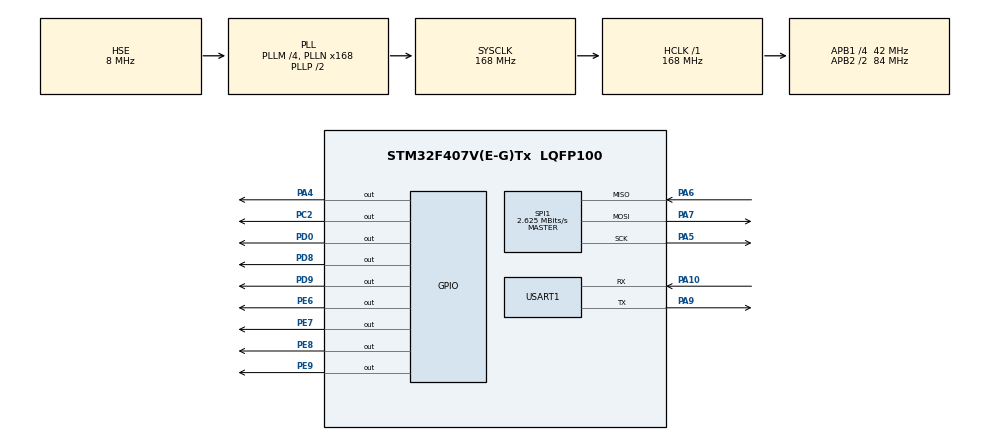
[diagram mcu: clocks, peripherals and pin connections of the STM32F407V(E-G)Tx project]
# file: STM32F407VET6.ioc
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Mcu.Family=STM32F4
Mcu.Name=STM32F407V(E-G)Tx
Mcu.Package=LQFP100
NVIC.PriorityGroup=NVIC_PRIORITYGROUP_4
PA10.Mode=Asynchronous
PA10.Signal=USART1_RX
PA13.Mode=Serial_Wire
PA13.Signal=SYS_JTMS-SWDIO
PA14.Mode=Serial_Wire
PA14.Signal=SYS_JTCK-SWCLK
PA4.GPIO_Speed=GPIO_SPEED_FREQ_VERY_HIGH
PA4.Signal=GPIO_Output
PA5.Mode=Full_Duplex_Master
PA5.Signal=SPI1_SCK
PA6.Mode=Full_Duplex_Master
PA6.Signal=SPI1_MISO
PA7.Mode=Full_Duplex_Master
PA7.Signal=SPI1_MOSI
PA9.Mode=Asynchronous
PA9.Signal=USART1_TX
PC2.GPIO_Speed=GPIO_SPEED_FREQ_MEDIUM
PC2.PinState=GPIO_PIN_RESET
PC2.Signal=GPIO_Output
PD0.GPIO_ModeDefaultOutputPP=GPIO_MODE_OUTPUT_PP
PD0.GPIO_Speed=GPIO_SPEED_FREQ_MEDIUM
PD0.PinState=GPIO_PIN_RESET
PD0.Signal=GPIO_Output
PD8.GPIO_ModeDefaultOutputPP=GPIO_MODE_OUTPUT_PP
PD8.GPIO_PuPd=GPIO_NOPULL
PD8.GPIO_Speed=GPIO_SPEED_FREQ_LOW
PD8.PinState=GPIO_PIN_RESET
PD8.Signal=GPIO_Output
PD9.GPIO_ModeDefaultOutputPP=GPIO_MODE_OUTPUT_PP
PD9.GPIO_PuPd=GPIO_NOPULL
PD9.GPIO_Speed=GPIO_SPEED_FREQ_LOW
PD9.PinState=GPIO_PIN_RESET
PD9.Signal=GPIO_Output
PE6.GPIO_Speed=GPIO_SPEED_FREQ_MEDIUM
PE6.Signal=GPIO_Output
PE7.GPIO_ModeDefaultOutputPP=GPIO_MODE_OUTPUT_PP
PE7.GPIO_Speed=GPIO_SPEED_FREQ_MEDIUM
PE7.PinState=GPIO_PIN_SET
PE7.Signal=GPIO_Output
PE8.GPIO_ModeDefaultOutputPP=GPIO_MODE_OUTPUT_PP
PE8.GPIO_PuPd=GPIO_NOPULL
PE8.GPIO_Speed=GPIO_SPEED_FREQ_LOW
PE8.PinState=GPIO_PIN_RESET
PE8.Signal=GPIO_Output
PE9.GPIO_ModeDefaultOutputPP=GPIO_MODE_OUTPUT_PP
PE9.GPIO_PuPd=GPIO_NOPULL
PE9.GPIO_Speed=GPIO_SPEED_FREQ_LOW
PE9.PinState=GPIO_PIN_RESET
PE9.Signal=GPIO_Output
PH0-OSC_IN.Mode=HSE-External-Oscillator
PH0-OSC_IN.Signal=RCC_OSC_IN
PH1-OSC_OUT.Mode=HSE-External-Oscillator
PH1-OSC_OUT.Signal=RCC_OSC_OUT
ProjectManager.HeapSize=0x200
ProjectManager.StackSize=0x400
ProjectManager.TargetToolchain=MDK-ARM V5.32
RCC.48MHZClocksFreq_Value=84000000
RCC.AHBFreq_Value=168000000
RCC.APB1CLKDivider=RCC_HCLK_DIV4
RCC.APB1Freq_Value=42000000
RCC.APB1TimFreq_Value=84000000
RCC.APB2CLKDivider=RCC_HCLK_DIV2
RCC.APB2Freq_Value=84000000
RCC.APB2TimFreq_Value=168000000
RCC.CortexFreq_Value=168000000
RCC.HCLKFreq_Value=168000000
RCC.HSE_VALUE=8000000
RCC.HSI_VALUE=16000000
RCC.LSE_VALUE=32768
RCC.PLLM=4
RCC.PLLN=168
RCC.PLLSourceVirtual=RCC_PLLSOURCE_HSE
RCC.SYSCLKFreq_VALUE=168000000
RCC.SYSCLKSource=RCC_SYSCLKSOURCE_PLLCLK
RCC.VCOOutputFreq_Value=336000000
SPI1.BaudRatePrescaler=SPI_BAUDRATEPRESCALER_32
SPI1.CalculateBaudRate=2.625 MBits/s
SPI1.DataSize=SPI_DATASIZE_16BIT
SPI1.Direction=SPI_DIRECTION_2LINES
SPI1.Mode=SPI_MODE_MASTER
SPI1.VirtualType=VM_MASTER
USART1.VirtualMode=VM_ASYNC
board=custom

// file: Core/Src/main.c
/* USER CODE BEGIN Header */
/**
  ******************************************************************************
  * @file           : main.c
  * @brief          : Main program body
  ******************************************************************************
  * @attention
  *
  * Copyright (c) 2026 STMicroelectronics.
  * All rights reserved.
  *
  * This software is licensed under terms that can be found in the LICENSE file
  * in the root directory of this software component.
  * If no LICENSE file comes with this software, it is provided AS-IS.
  *
  ******************************************************************************
  */
/* USER CODE END Header */
#include "main.h"
#include "spi.h"
#include "usart.h"
#include "gpio.h"

/* USER CODE BEGIN Includes */
#include "headfile.h"
#include "lcd.h"
/* USER CODE END Includes */

/* USER CODE BEGIN PTD */
typedef enum
{
  MEASURE_MODE_WAVE = 0,
  MEASURE_MODE_FREQ = 1
} measure_mode_t;

typedef enum
{
  WAVE_CHANNEL_1_NORMAL = 0,
  WAVE_CHANNEL_2_ATTEN = 1
} wave_channel_t;

/* USER CODE END PTD */

/* USER CODE BEGIN PD */
#define ADC_CAPTURE_WAIT_MS 20U
#define ADC_CAPTURE_SAMPLE_COUNT 1024U
#define ADC_SAMPLE_RATE_HZ FPGA_ADC_SAMPLE_RATE_HZ
#define ADC_FULL_SCALE_VPP 4.0f
#define ADC_MAX_CODE 16383U
#define WAVE_CHANNEL_1_GAIN 1.0f
#define WAVE_CHANNEL_2_GAIN 3.2268f     //3.1623f
#define WAVE_CHANNEL_SWITCH_TO_NORMAL_VPP 3.2f
#define WAVE_CHANNEL_BACK_TO_NORMAL_FRAMES 5U
#define WAVE_CHANNEL_CH2_HOLD_MS 1000U
#define LCD_AUTO_REFRESH_INTERVAL_MS 200U
#define LCD_VALUE_X 150U
#define LCD_STATUS_Y 56U
#define LCD_AMP_Y 84U
#define LCD_RISE_Y 112U
#define LCD_FREQ_Y 140U
#define LCD_DUTY_Y 168U
#define LCD_ZERO_Y 196U
#define LCD_NOTE_Y 220U

/* USER CODE END PD */

/* USER CODE BEGIN PM */
static uint16_t adc_raw_buff[ADC_CAPTURE_SAMPLE_COUNT];
static uint16_t adc_work_buff[ADC_CAPTURE_SAMPLE_COUNT];
static pulse_measure_config_t g_pulse_cfg;
static pulse_measure_result_t g_pulse_result;
static pulse_measure_result_t g_last_valid_result;
static bool g_have_last_valid_result = false;
static uint16_t g_freq_status = 0U;
static uint32_t g_freq_period_samples = 0U;
static uint32_t g_freq_high_samples = 0U;
static uint32_t g_freq_low_samples = 0U;
static measure_mode_t g_measure_mode = MEASURE_MODE_WAVE;
static wave_channel_t g_wave_channel = WAVE_CHANNEL_1_NORMAL;
static uint8_t g_channel2_low_amp_frames = 0U;
static uint32_t g_wave_channel_switch_tick = 0U;

static uint32_t scale_positive_float(float value, float scale)
{
  if(value <= 0.0f)
  {
    return 0U;
  }

  return (uint32_t)((value * scale) + 0.5f);
}

static void lcd_clear_value_line(uint16_t y)
{
  LCD_Fill(LCD_VALUE_X, y, 315U, y + 24U, WHITE);
}

static void lcd_show_placeholder(uint16_t y)
{
  lcd_clear_value_line(y);
  LCD_ShowString(LCD_VALUE_X, y, (const uint8_t *)"--", RED, WHITE, 24U, 0U);
}

static void lcd_show_status_text(const char *text, uint16_t color)
{
  lcd_clear_value_line(LCD_STATUS_Y);
  LCD_ShowString(LCD_VALUE_X, LCD_STATUS_Y, (const uint8_t *)text, color, WHITE, 24U, 0U);
}

static void lcd_show_mode_text(const char *text, uint16_t color)
{
  LCD_Fill(170U, LCD_NOTE_Y, 315U, LCD_NOTE_Y + 18U, WHITE);
  LCD_ShowString(170U, LCD_NOTE_Y, (const uint8_t *)text, color, WHITE, 16U, 0U);
}

static void lcd_show_channel_text(const char *text, uint16_t color)
{
  LCD_Fill(206U, 32U, 315U, 44U, WHITE);
  LCD_ShowString(206U, 32U, (const uint8_t *)text, color, WHITE, 16U, 0U);
}

static void apply_wave_channel(void)
{
  if(g_wave_channel == WAVE_CHANNEL_1_NORMAL)
  {
    HAL_GPIO_WritePin(GPIOD, GPIO_PIN_0, GPIO_PIN_RESET);
    HAL_GPIO_WritePin(GPIOE, GPIO_PIN_7, GPIO_PIN_SET);
    HAL_GPIO_WritePin(GPIOE, GPIO_PIN_6, GPIO_PIN_RESET);
    g_pulse_cfg.adc_full_scale_vpp = ADC_FULL_SCALE_VPP * WAVE_CHANNEL_1_GAIN;
    g_channel2_low_amp_frames = 0U;
    g_wave_channel_switch_tick = HAL_GetTick();
    lcd_show_channel_text("CH1 0dB", BLUE);
  }
  else
  {
    HAL_GPIO_WritePin(GPIOD, GPIO_PIN_0, GPIO_PIN_SET);
    HAL_GPIO_WritePin(GPIOE, GPIO_PIN_7, GPIO_PIN_RESET);
    HAL_GPIO_WritePin(GPIOE, GPIO_PIN_6, GPIO_PIN_SET);
    g_pulse_cfg.adc_full_scale_vpp = ADC_FULL_SCALE_VPP * WAVE_CHANNEL_2_GAIN;
    g_channel2_low_amp_frames = 0U;
    g_wave_channel_switch_tick = HAL_GetTick();
    lcd_show_channel_text("CH2 -10dB", MAGENTA);
  }
}

static bool adc_frame_hit_ceiling(const uint16_t *samples, uint16_t sample_count)
{
  if(samples == NULL)
  {
    return false;
  }

  for(uint16_t i = 0U; i < sample_count; i++)
  {
    if(samples[i] >= ADC_MAX_CODE)
    {
      return true;
    }
  }

  return false;
}

static bool wave_channel_auto_adjust(const uint16_t *samples,
                                     uint16_t sample_count,
                                     const pulse_measure_result_t *result,
                                     bool capture_ok)
{
  if((g_wave_channel == WAVE_CHANNEL_1_NORMAL) &&
     adc_frame_hit_ceiling(samples, sample_count))
  {
    g_wave_channel = WAVE_CHANNEL_2_ATTEN;
    apply_wave_channel();
    return true;
  }

  if((g_wave_channel == WAVE_CHANNEL_2_ATTEN) &&
     ((HAL_GetTick() - g_wave_channel_switch_tick) >= WAVE_CHANNEL_CH2_HOLD_MS))
  {
    if(capture_ok &&
       (result != NULL) &&
       result->rise_time_valid &&
       (result->amplitude_vpp < WAVE_CHANNEL_SWITCH_TO_NORMAL_VPP))
    {
      if(g_channel2_low_amp_frames < WAVE_CHANNEL_BACK_TO_NORMAL_FRAMES)
      {
        g_channel2_low_amp_frames++;
      }

      if(g_channel2_low_amp_frames >= WAVE_CHANNEL_BACK_TO_NORMAL_FRAMES)
      {
        g_wave_channel = WAVE_CHANNEL_1_NORMAL;
        apply_wave_channel();
        return true;
      }
    }
    else
    {
      g_channel2_low_amp_frames = 0U;
    }
  }

  return false;
}

static void lcd_show_freq_duty_result(uint16_t status,
                                      uint32_t test_edge_count,
                                      uint32_t gate_clk_count,
                                      uint32_t high_level_clk_count)
{
  uint32_t freq_10x_hz;
  uint32_t duty_10x_pct;
  float freq_hz;
  float duty_pct;

  if(((status & FPGA_FREQ_STATUS_VALID) == 0U) ||
     (test_edge_count == 0U) ||
     (gate_clk_count == 0U) ||
     (high_level_clk_count > gate_clk_count))
  {
    lcd_show_placeholder(LCD_FREQ_Y);
    lcd_show_placeholder(LCD_DUTY_Y);
    return;
  }

  freq_hz = ((float)test_edge_count * FPGA_FREQ_STD_CLK_HZ) / (float)gate_clk_count;
  duty_pct = ((float)high_level_clk_count * 100.0f) / (float)gate_clk_count;

  freq_10x_hz = scale_positive_float(freq_hz, 10.0f);
  duty_10x_pct = scale_positive_float(duty_pct, 10.0f);

  lcd_clear_value_line(LCD_FREQ_Y);
  if(freq_hz >= 1000.0f)
  {
    uint32_t freq_10x_khz = scale_positive_float(freq_hz / 1000.0f, 10.0f);
    LcdSprintf(LCD_VALUE_X,
               LCD_FREQ_Y,
               BLUE,
               WHITE,
               24U,
               0U,
               "%lu.%01lu k",
               (unsigned long)(freq_10x_khz / 10U),
               (unsigned long)(freq_10x_khz % 10U));
  }
  else
  {
    LcdSprintf(LCD_VALUE_X,
               LCD_FREQ_Y,
               BLUE,
               WHITE,
               24U,
               0U,
               "%lu.%01lu",
               (unsigned long)(freq_10x_hz / 10U),
               (unsigned long)(freq_10x_hz % 10U));
  }

  lcd_clear_value_line(LCD_DUTY_Y);
  LcdSprintf(LCD_VALUE_X,
             LCD_DUTY_Y,
             BLUE,
             WHITE,
             24U,
             0U,
             "%lu.%01lu",
             (unsigned long)(duty_10x_pct / 10U),
             (unsigned long)(duty_10x_pct % 10U));
}

static void lcd_draw_measure_ui(void)
{
  LCD_Fill(0U, 0U, 320U, 240U, WHITE);
  LCD_DrawRectangle(8U, 8U, 312U, 232U, BLUE);
  LCD_DrawLine(8U, 46U, 312U, 46U, LIGHTBLUE);

  LCD_ShowString(18U, 16U, (const uint8_t *)"Pulse Measure", BLUE, WHITE, 24U, 0U);
  LCD_ShowString(206U, 18U, (const uint8_t *)"KEY2:Dump", GRAYBLUE, WHITE, 16U, 0U);
  LCD_ShowString(20U, LCD_STATUS_Y, (const uint8_t *)"State:", BLACK, WHITE, 24U, 0U);
  LCD_ShowString(20U, LCD_AMP_Y, (const uint8_t *)"Amp(Vpp):", BLACK, WHITE, 24U, 0U);
  LCD_ShowString(20U, LCD_RISE_Y, (const uint8_t *)"Rise(ns):", BLACK, WHITE, 24U, 0U);
  LCD_ShowString(20U, LCD_FREQ_Y, (const uint8_t *)"Freq:", BLACK, WHITE, 24U, 0U);
  LCD_ShowString(20U, LCD_DUTY_Y, (const uint8_t *)"Duty:", BLACK, WHITE, 24U, 0U);
  LCD_ShowString(20U, LCD_ZERO_Y, (const uint8_t *)"ZeroCnt:", BLACK, WHITE, 24U, 0U);
  LCD_ShowString(20U, LCD_NOTE_Y, (const uint8_t *)"KEY3 Mode:", GRAYBLUE, WHITE, 16U, 0U);

  lcd_show_status_text("IDLE", GRAYBLUE);
  lcd_show_placeholder(LCD_AMP_Y);
  lcd_show_placeholder(LCD_RISE_Y);
  lcd_show_placeholder(LCD_FREQ_Y);
  lcd_show_placeholder(LCD_DUTY_Y);
  lcd_show_placeholder(LCD_ZERO_Y);
  lcd_show_mode_text("Wave", BLUE);
  lcd_show_channel_text("CH1 0dB", BLUE);
}

static void lcd_show_measure_result(const pulse_measure_result_t *result, bool capture_ok)
{
  uint32_t amplitude_mv = 0U;
  uint32_t rise_time_10x_ns = 0U;

  if(result == NULL)
  {
    lcd_show_status_text("NO_DATA", RED);
    lcd_show_placeholder(LCD_AMP_Y);
    lcd_show_placeholder(LCD_RISE_Y);
    lcd_show_placeholder(LCD_ZERO_Y);
    return;
  }

  lcd_clear_value_line(LCD_ZERO_Y);
  LcdSprintf(LCD_VALUE_X, LCD_ZERO_Y, BLACK, WHITE, 24U, 0U, "%u", result->zero_count);

  if(!capture_ok)
  {
    if((g_pulse_cfg.bad_zero_limit != 0xFFFFU) &&
       (result->zero_count > g_pulse_cfg.bad_zero_limit))
    {
      lcd_show_status_text("ZERO_ERR", RED);
    }
    else
    {
      lcd_show_status_text("BAD_FRAME", RED);
    }

    lcd_show_placeholder(LCD_AMP_Y);
    lcd_show_placeholder(LCD_RISE_Y);
    return;
  }

  amplitude_mv = scale_positive_float(result->amplitude_vpp, 1000.0f);
  if(result->rise_time_valid)
  {
    lcd_clear_value_line(LCD_AMP_Y);
    LcdSprintf(LCD_VALUE_X,
               LCD_AMP_Y,
               BLUE,
               WHITE,
               24U,
               0U,
               "%lu.%03lu",
               (unsigned long)(amplitude_mv / 1000U),
               (unsigned long)(amplitude_mv % 1000U));
    rise_time_10x_ns = scale_positive_float(result->rise_time_ns, 10.0f);
    lcd_clear_value_line(LCD_RISE_Y);
    LcdSprintf(LCD_VALUE_X,
               LCD_RISE_Y,
               BLUE,
               WHITE,
               24U,
               0U,
               "%lu.%01lu",
               (unsigned long)(rise_time_10x_ns / 10U),
               (unsigned long)(rise_time_10x_ns % 10U));
    g_last_valid_result = *result;
    g_have_last_valid_result = true;
    lcd_show_status_text("OK", GREEN);
  }
  else
  {
    if(g_have_last_valid_result)
    {
      lcd_show_status_text("HOLD", MAGENTA);
    }
    else
    {
      lcd_show_placeholder(LCD_AMP_Y);
      lcd_clear_value_line(LCD_RISE_Y);
      LCD_ShowString(LCD_VALUE_X, LCD_RISE_Y, (const uint8_t *)"N/A", MAGENTA, WHITE, 24U, 0U);
      lcd_show_status_text("NO_EDGE", MAGENTA);
    }
  }
}

static void capture_wave_measure(uint16_t cmd, bool dump_samples, bool allow_auto_range)
{
  HAL_StatusTypeDef status;
  bool measure_ok;
  uint8_t capture_rounds = allow_auto_range ? 2U : 1U;

  for(uint8_t round = 0U; round < capture_rounds; round++)
  {
    spi_reg_write(&cmd, 0xbb01, 1);
    HAL_Delay(ADC_CAPTURE_WAIT_MS);

    status = spi_reg_read_adc_channel_samples(adc_raw_buff, ADC_CAPTURE_SAMPLE_COUNT, 1);
    if(status != HAL_OK)
    {
      printf("CAPTURE_READ_FAIL,cmd=0x%04X\r\n", cmd);
      lcd_show_status_text("SPI_FAIL", RED);
      lcd_show_placeholder(LCD_AMP_Y);
      lcd_show_placeholder(LCD_RISE_Y);
      lcd_show_placeholder(LCD_FREQ_Y);
      lcd_show_placeholder(LCD_DUTY_Y);
      lcd_show_placeholder(LCD_ZERO_Y);
      return;
    }

    memcpy(adc_work_buff, adc_raw_buff, sizeof(adc_work_buff));
    measure_ok = pulse_measure_analyze(adc_work_buff,
                                       ADC_CAPTURE_SAMPLE_COUNT,
                                       &g_pulse_cfg,
                                       &g_pulse_result);
    lcd_show_measure_result(&g_pulse_result, measure_ok);
    lcd_show_placeholder(LCD_FREQ_Y);
    lcd_show_placeholder(LCD_DUTY_Y);

    if((!allow_auto_range) ||
       (!wave_channel_auto_adjust(adc_raw_buff,
                                  ADC_CAPTURE_SAMPLE_COUNT,
                                  &g_pulse_result,
                                  measure_ok)))
    {
      break;
    }
  }

  if(!dump_samples)
  {
    return;
  }

  printf("CAPTURE_BEGIN,cmd=0x%04X,samples=%u\r\n", cmd, ADC_CAPTURE_SAMPLE_COUNT);

  for (uint16_t i = 0; i < ADC_CAPTURE_SAMPLE_COUNT; i++)
  {
    printf("%u\r\n", adc_raw_buff[i]);
  }
}

static void capture_freq_measure(void)
{
  lcd_show_placeholder(LCD_AMP_Y);
  lcd_show_placeholder(LCD_RISE_Y);
  lcd_show_placeholder(LCD_ZERO_Y);

  if(spi_reg_read_freq_duty_raw(&g_freq_period_samples,
                                &g_freq_high_samples,
                                &g_freq_low_samples,
                                &g_freq_status) == HAL_OK)
  {
    lcd_show_freq_duty_result(g_freq_status,
                              g_freq_period_samples,
                              g_freq_high_samples,
                              g_freq_low_samples);
    if((g_freq_status & FPGA_FREQ_STATUS_VALID) != 0U)
      lcd_show_status_text("OK", GREEN);
    else
      lcd_show_status_text("NO_SIG", MAGENTA);
  }
  else
  {
    lcd_show_status_text("SPI_FAIL", RED);
    lcd_show_placeholder(LCD_FREQ_Y);
    lcd_show_placeholder(LCD_DUTY_Y);
  }
}

static void measure_mode_refresh(uint16_t cmd, bool dump_samples, bool allow_auto_range)
{
  if(g_measure_mode == MEASURE_MODE_WAVE)
  {
    lcd_show_mode_text("Wave", BLUE);
		HAL_GPIO_WritePin(GPIOC,GPIO_PIN_2,GPIO_PIN_RESET);
    capture_wave_measure(cmd, dump_samples, allow_auto_range);
  }
  else
  {
    lcd_show_mode_text("Freq", GREEN);
		HAL_GPIO_WritePin(GPIOC,GPIO_PIN_2,GPIO_PIN_SET);
    capture_freq_measure();
  }
}

/* USER CODE END PM */

void SystemClock_Config(void);

int main(void)
{

  /* MCU Configuration--------------------------------------------------------*/

  /* Reset of all peripherals, Initializes the Flash interface and the Systick. */
  HAL_Init();

  /* Configure the system clock */
  SystemClock_Config();

  /* Initialize all configured peripherals */
  MX_GPIO_Init();
  MX_SPI1_Init();
  MX_USART1_UART_Init();
  /* USER CODE BEGIN 2 */
  LCD_Init();
  lcd_draw_measure_ui();
  pulse_measure_get_default_config(&g_pulse_cfg);
  g_pulse_cfg.sample_rate_hz = ADC_SAMPLE_RATE_HZ;
  g_pulse_cfg.adc_full_scale_vpp = ADC_FULL_SCALE_VPP;
  g_pulse_cfg.adc_max_code = ADC_MAX_CODE;
  apply_wave_channel();

  key_init();
	uint16_t cmd = 1;
	measure_mode_refresh(cmd, false, true);
  /* USER CODE END 2 */

  /* Infinite loop */
  /* USER CODE BEGIN WHILE */
  while (1)
  {
		static uint32_t last_capture_tick = 0U;

    /* USER CODE END WHILE */

    /* USER CODE BEGIN 3 */
    key_proc();
		if(key_press_flag & KEY3_PRESS_FLAG)
		{
			if(g_measure_mode == MEASURE_MODE_WAVE)
				g_measure_mode = MEASURE_MODE_FREQ;
			else
				g_measure_mode = MEASURE_MODE_WAVE;

			measure_mode_refresh(cmd, false, true);
			last_capture_tick = HAL_GetTick();
		}
		if(key_press_flag & KEY4_PRESS_FLAG)
		{
			if(g_wave_channel == WAVE_CHANNEL_1_NORMAL)
				g_wave_channel = WAVE_CHANNEL_2_ATTEN;
			else
				g_wave_channel = WAVE_CHANNEL_1_NORMAL;

			apply_wave_channel();
			if(g_measure_mode == MEASURE_MODE_WAVE)
			{
				measure_mode_refresh(cmd, false, false);
				last_capture_tick = HAL_GetTick();
			}
		}
		if((HAL_GetTick() - last_capture_tick) >= LCD_AUTO_REFRESH_INTERVAL_MS)
		{
			measure_mode_refresh(cmd, false, true);
			last_capture_tick = HAL_GetTick();
		}
		if((g_measure_mode == MEASURE_MODE_WAVE) &&
		   (key_press_flag & KEY2_PRESS_FLAG))
		{
			measure_mode_refresh(cmd, true, false);
			last_capture_tick = HAL_GetTick();
		}
  }
  /* USER CODE END 3 */
}

void SystemClock_Config(void)
{
  RCC_OscInitTypeDef RCC_OscInitStruct = {0};
  RCC_ClkInitTypeDef RCC_ClkInitStruct = {0};

  /** Configure the main internal regulator output voltage
  */
  __HAL_RCC_PWR_CLK_ENABLE();
  __HAL_PWR_VOLTAGESCALING_CONFIG(PWR_REGULATOR_VOLTAGE_SCALE1);

  /** Initializes the RCC Oscillators according to the specified parameters
  * in the RCC_OscInitTypeDef structure.
  */
  RCC_OscInitStruct.OscillatorType = RCC_OSCILLATORTYPE_HSE;
  RCC_OscInitStruct.HSEState = RCC_HSE_ON;
  RCC_OscInitStruct.PLL.PLLState = RCC_PLL_ON;
  RCC_OscInitStruct.PLL.PLLSource = RCC_PLLSOURCE_HSE;
  RCC_OscInitStruct.PLL.PLLM = 4;
  RCC_OscInitStruct.PLL.PLLN = 168;
  RCC_OscInitStruct.PLL.PLLP = RCC_PLLP_DIV2;
  RCC_OscInitStruct.PLL.PLLQ = 4;
  if (HAL_RCC_OscConfig(&RCC_OscInitStruct) != HAL_OK)
  {
    Error_Handler();
  }

  /** Initializes the CPU, AHB and APB buses clocks
  */
  RCC_ClkInitStruct.ClockType = RCC_CLOCKTYPE_HCLK|RCC_CLOCKTYPE_SYSCLK
                              |RCC_CLOCKTYPE_PCLK1|RCC_CLOCKTYPE_PCLK2;
  RCC_ClkInitStruct.SYSCLKSource = RCC_SYSCLKSOURCE_PLLCLK;
  RCC_ClkInitStruct.AHBCLKDivider = RCC_SYSCLK_DIV1;
  RCC_ClkInitStruct.APB1CLKDivider = RCC_HCLK_DIV4;
  RCC_ClkInitStruct.APB2CLKDivider = RCC_HCLK_DIV2;

  if (HAL_RCC_ClockConfig(&RCC_ClkInitStruct, FLASH_LATENCY_5) != HAL_OK)
  {
    Error_Handler();
  }
}

void Error_Handler(void)
{
  __disable_irq();
  while (1)
  {
  }
}
